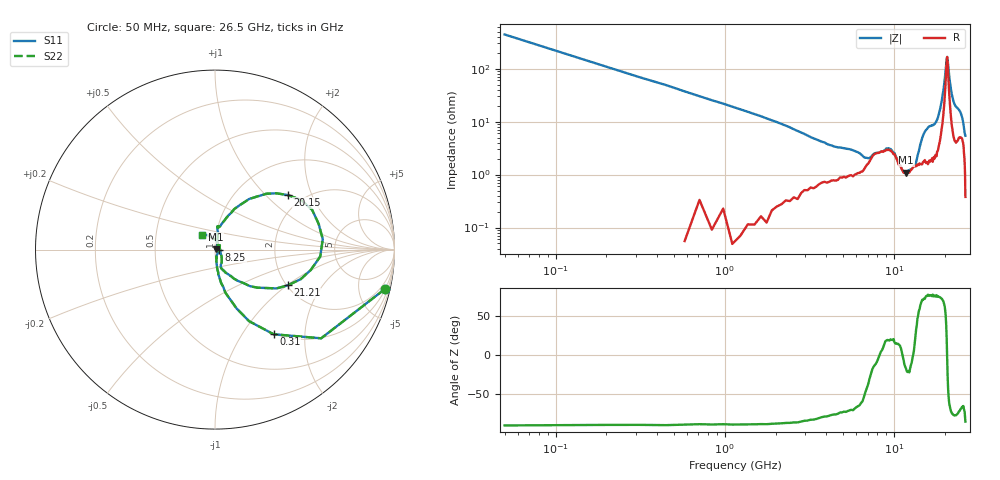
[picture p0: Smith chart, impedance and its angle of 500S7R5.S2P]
!  American Technical Ceramics  Date:  3/6/98
!  One Norden Lane
!  Huntington Station,  NY.  11746-2102
!  Tel:  (516) 547-5700  Fax:  (516) 547-5748
!  Part Number  500S7R5
!  Description: Broadband Microwave capacitor
!  Application:
# GHZ S DB R 50
! Freq  |S11|  S11 Ph  |S21|  S21 Ph  |S12|  S12 Ph  |S22|  S22 Ph
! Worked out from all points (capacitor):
!   201 points, 50 MHz to 26.5 GHz, reference 50 ohm
!   read as one part in series: C = 7.32 pF near 180 MHz
!   lowest |Z| = 1.08 ohm at 11.82 GHz (marker M1)
!   series resonance near 8.246 GHz, so ESL is about 51 pH
!   S11 on the Smith chart (normalised r, x): 50 MHz: 1.06, -8.65; 310 MHz: 0.99, -1.39; 8.25 GHz: 1.05, +0.00; 20.15 GHz: 1.66, +1.36; 21.21 GHz: 2.02, -1.01; 26.5 GHz: 0.86, +0.14
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0.05  -0.24 -13.0  -13.15 78.1  -13.15 78.1  -0.24 -13.0
0.18  -2.26 -39.9  -3.91 50.5  -3.91 50.5  -2.26 -39.9
0.31  -4.83 -55.3  -1.71 35.0  -1.71 35.0  -4.83 -55.3
0.84  -12.19 -76.6  -0.32 14.2  -0.32 14.2  -12.19 -76.6
1.9  -19.44 -83.0  -0.07 6.0  -0.07 6.0  -19.44 -83.0
4.55  -27.04 -79.7  -0.08 1.2  -0.08 1.2  -27.04 -79.7
6.13  -27.06 -80.4  -0.13 0.2  -0.13 0.2  -27.06 -80.4
8.25  -32.38 0.2  -0.24 0.0  -0.24 0.0  -32.38 0.2
8.91  -30.05 33.1  -0.25 0.0  -0.25 0.0  -30.05 33.1
10.63  -33.03 63.1  -0.19 0.7  -0.19 0.7  -33.03 63.1
11.82  -46.27 25.8  -0.14 0.5  -0.14 0.5  -46.27 25.8
13.28  -36.39 34.1  -0.14 0.1  -0.14 0.1  -36.39 34.1
14.99  -20.81 79.8  -0.21 -1.0  -0.21 -1.0  -20.81 79.8
17.77  -17.91 80.0  -0.32 -3.3  -0.32 -3.3  -17.91 80.0
19.36  -11.19 61.7  -1.10 -12.4  -1.10 -12.4  -11.19 61.7
20.15  -5.92 37.0  -4.12 -22.1  -4.12 -22.1  -5.92 37.0
20.68  -4.39 5.6  -8.74 8.4  -8.74 8.4  -4.39 5.6
21.21  -6.91 -26.2  -3.80 32.0  -3.80 32.0  -6.91 -26.2
22.14  -14.26 -56.9  -1.11 21.0  -1.11 21.0  -14.26 -56.9
24.52  -23.32 -56.5  -0.67 13.5  -0.67 13.5  -23.32 -56.5
25.31  -31.27 22.8  -0.59 13.3  -0.59 13.3  -31.27 22.8
26.5  -19.28 131.0  -0.59 11.7  -0.59 11.7  -19.28 131.0
